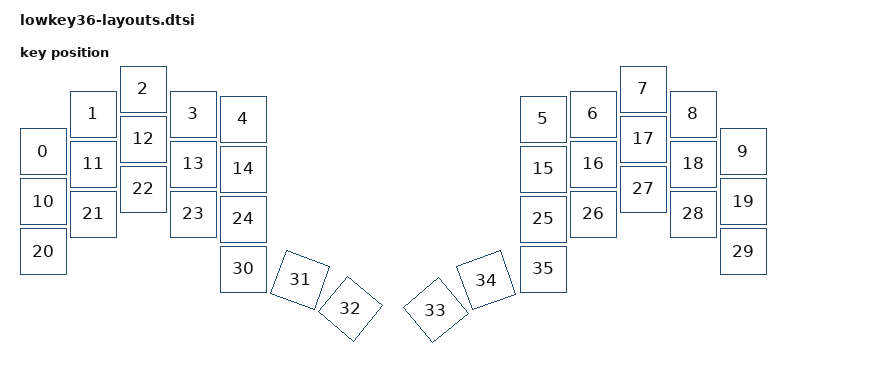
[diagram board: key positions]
/*
 * Copyright (c) 2024 Matt Gilbert
 *
 * SPDX-License-Identifier: MIT
 */

#include <physical_layouts.dtsi>

 / {
     physical_layout0: physical_layout_0 {
         compatible = "zmk,physical-layout";
         display-name = "LowKey36 Default";

         keys  //                     w   h    x    y     rot    rx    ry
            = <&key_physical_attrs 100 100    0  125       0     0     0>
            , <&key_physical_attrs 100 100  100   50       0     0     0>
            , <&key_physical_attrs 100 100  200    0       0     0     0>
            , <&key_physical_attrs 100 100  300   50       0     0     0>
            , <&key_physical_attrs 100 100  400   60       0     0     0>
            , <&key_physical_attrs 100 100 1000   60       0     0     0>
            , <&key_physical_attrs 100 100 1100   50       0     0     0>
            , <&key_physical_attrs 100 100 1200    0       0     0     0>
            , <&key_physical_attrs 100 100 1300   50       0     0     0>
            , <&key_physical_attrs 100 100 1400  125       0     0     0>
            , <&key_physical_attrs 100 100    0  225       0     0     0>
            , <&key_physical_attrs 100 100  100  150       0     0     0>
            , <&key_physical_attrs 100 100  200  100       0     0     0>
            , <&key_physical_attrs 100 100  300  150       0     0     0>
            , <&key_physical_attrs 100 100  400  160       0     0     0>
            , <&key_physical_attrs 100 100 1000  160       0     0     0>
            , <&key_physical_attrs 100 100 1100  150       0     0     0>
            , <&key_physical_attrs 100 100 1200  100       0     0     0>
            , <&key_physical_attrs 100 100 1300  150       0     0     0>
            , <&key_physical_attrs 100 100 1400  225       0     0     0>
            , <&key_physical_attrs 100 100    0  325       0     0     0>
            , <&key_physical_attrs 100 100  100  250       0     0     0>
            , <&key_physical_attrs 100 100  200  200       0     0     0>
            , <&key_physical_attrs 100 100  300  250       0     0     0>
            , <&key_physical_attrs 100 100  400  260       0     0     0>
            , <&key_physical_attrs 100 100 1000  260       0     0     0>
            , <&key_physical_attrs 100 100 1100  250       0     0     0>
            , <&key_physical_attrs 100 100 1200  200       0     0     0>
            , <&key_physical_attrs 100 100 1300  250       0     0     0>
            , <&key_physical_attrs 100 100 1400  325       0     0     0>
            , <&key_physical_attrs 100 100  400  360       0     0     0>
            , <&key_physical_attrs 100 100  500  365    2000   510   465>
            , <&key_physical_attrs 100 100  593  400    4000   600   500>
            , <&key_physical_attrs 100 100  810  390 (-4000)   920   500>
            , <&key_physical_attrs 100 100  904  360 (-2000)  1010   470>
            , <&key_physical_attrs 100 100 1000  360       0     0     0>
            ;
    };
};
